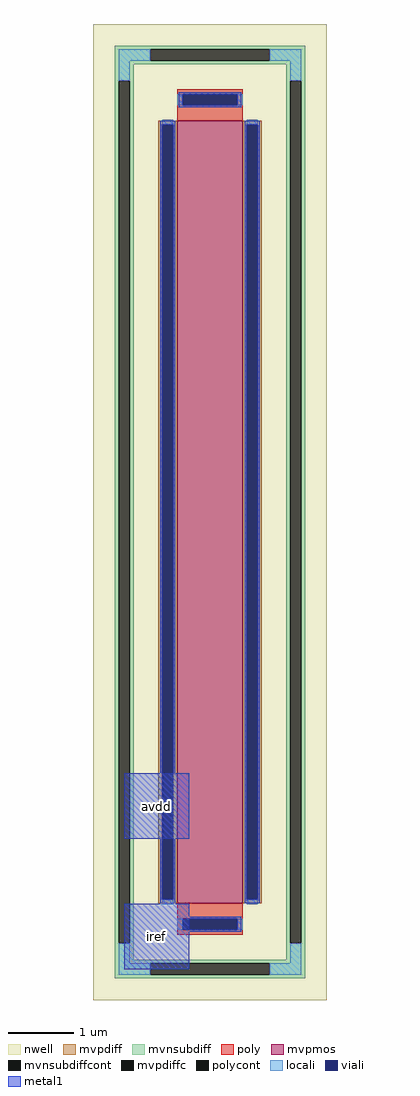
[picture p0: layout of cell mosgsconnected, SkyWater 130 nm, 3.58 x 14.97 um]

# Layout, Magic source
magic
tech sky130A
magscale 1 2
<< metal1 >>
rect 0 0 200 200
rect 0 -400 200 -200
use sky130_fd_pr__pfet_g5v0d10v5_243UAW  XM6
transform 1 0 263 0 1 1002
box -358 -1497 358 1497
<< labels >>
flabel metal1 0 0 200 200 0 FreeSans 256 0 0 0 avdd
port 0 nsew
flabel metal1 0 -400 200 -200 0 FreeSans 256 0 0 0 iref
port 1 nsew
<< end >>

# cell sky130_fd_pr__pfet_g5v0d10v5_243UAW: kit device sky130_fd_pr__pfet_g5v0d10v5, w 12.0 l 1.0 m 1 nf 1 diffcov 100 polycov 100 guard 1 glc 1 grc 1 gtc 1 gbc 1 tbcov 100 rlcov 100 topc 1 botc 1 poverlap 0 doverlap 1 lmin 0.50 wmin 0.42 compatible {sky130_fd_pr__pfet_01v8 sky130_fd_pr__pfet_01v8_lvt sky130_fd_pr__pfet_01v8_hvt sky130_fd_pr__pfet_g5v0d10v5} full_metal 1 viasrc 100 viadrn 100 viagate 100 viagb 0 viagr 0 viagl 0 viagt 0
